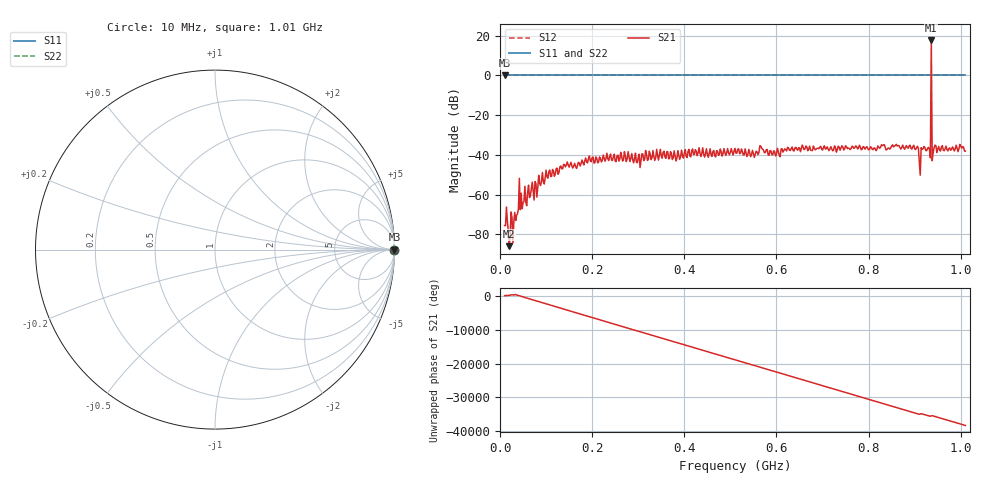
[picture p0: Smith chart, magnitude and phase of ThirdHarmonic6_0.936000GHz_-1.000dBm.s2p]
! 8/16/2025 6:29:20 AM
! C:\ANRITSUVNA\TEMP\TEMP.S2P
! CHANNEL.1
! TR.MEASUREMENT
! RAW.DATA
! RF.CORRECTION.OFF
! AVERAGING.OFF
! IF.BANDWIDTH: 5KHZ
! SWEEPTYPE:  FREQ.SWEEP(Linear)
! Reference Plane Port Info
! PORT:  PORT1  PORT2
! DISTANCE:  0  m  0  m
! TIME:  0  s  0  s
! PHASE.OFFSET:  0  deg.  0  deg.
! LOSS:  0  dB  0  dB
! REF.LOSS:  0  dB  0  dB
! REF.FREQ:  0  Hz  0  Hz
! Power Info
! POWER:  -20  dBm  -20  dBm
! EFF.POWER:  -20  dBm  -20  dBm
! SOURCE.ATTEN:  0  dB  0  dB
! TEST.ATTEN:  0  dB  0  dB
# GHZ S RI R 50.0
! FREQ.GHZ  S11RE  S11IM  S21RE  S21IM  S12RE  S12IM  S22RE  S22IM
!; PortSelection: Port_12
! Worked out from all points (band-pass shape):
!   501 points, 10 MHz to 1.01 GHz, reference 50 ohm
!   highest |S21| = 17.65 dB at 936 MHz (marker M1); lowest = -86.0 dB at 20 MHz (marker M2)
!   |S21| within 3 dB of the highest: 935.8985 MHz to 936.099 MHz (200.5 kHz wide, 0.0214 % of centre)
!   lowest |S11| = 0.0 dB at 10 MHz (marker M3)
!   |S11| at or under -10 dB: nowhere
!   |S22| runs from 0.0 to 0.0 dB; largest |S21 - S12| = 7.9
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0.01  1 0  0.000165 -2.1e-06  1 0  1 0
0.02  1 0  -3.29e-05 3.78e-05  1 0  1 0
0.032  1 0  0.000234 -0.000267  1 0  1 0
0.042  1 0  0.00231 -0.00112  1 0  1 0
0.078  1 0  -0.000319 -0.00188  1 0  1 0
0.088  1 0  -0.00075 -0.00152  1 0  1 0
0.142  1 0  -0.0043 -0.00252  1 0  1 0
0.178  1 0  -0.00699 -0.00252  1 0  1 0
0.3  1 0  0.00834 -0.00254  1 0  1 0
0.344  1 0  0.0074 0.000102  1 0  1 0
0.51  1 0  -0.0144 0.00074  1 0  1 0
0.678  1 0  0.00407 -0.0121  1 0  1 0
0.844  1 0  -0.000827 0.0148  1 0  1 0
0.902  1 0  0.00353 -0.0132  1 0  1 0
0.914  1 0  -0.014 0.00594  1 0  1 0
0.918  1 0  0.0141 0.00048  1 0  1 0
0.93  1 0  -0.00882 -0.0127  1 0  1 0
0.932  1 0  -0.0125 0.0052  1 0  1 0
0.936  1 0  -1.759 -7.42  1 0  1 0
0.94  1 0  -0.0104 -0.00451  1 0  1 0
0.942  1 0  -0.0112 0.0103  1 0  1 0
1.01  1 0  0.00236 -0.0122  1 0  1 0
